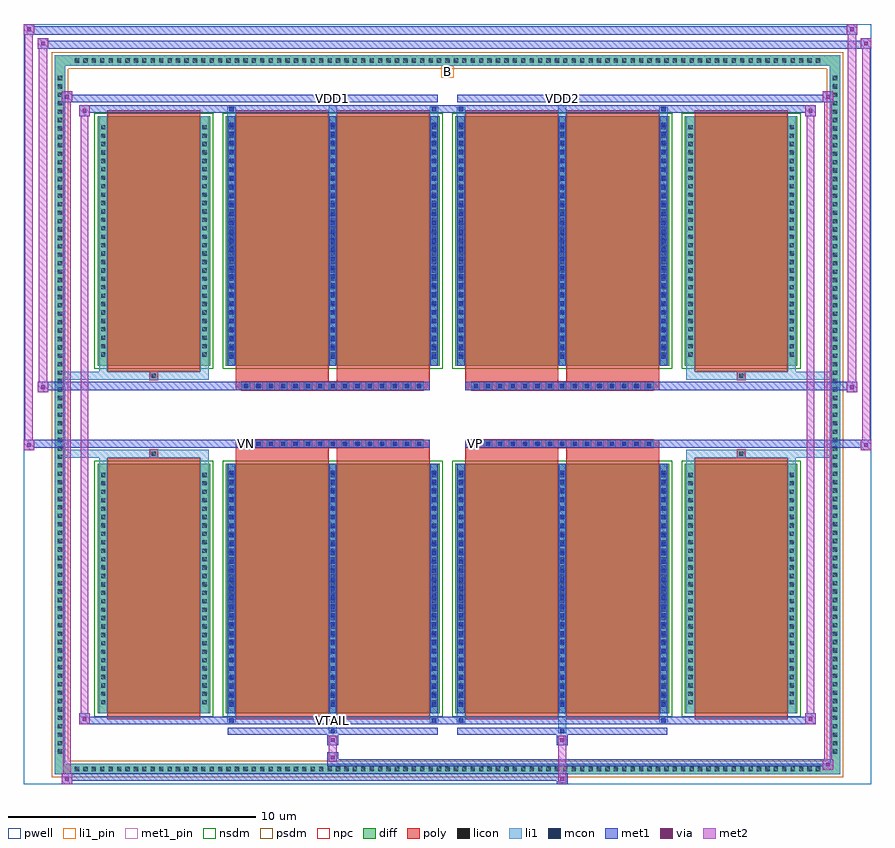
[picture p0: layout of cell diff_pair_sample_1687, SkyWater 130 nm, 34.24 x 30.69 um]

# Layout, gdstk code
import gdstk
lib = gdstk.Library(unit=1e-6, precision=5e-09)
def R(c, l, rs):  # rectangles x0, y0, x1, y1
    for r in rs: c.add(gdstk.rectangle(r[:2], r[2:], *l))
def A(c, l, x, y, w, h, nx, ny, dx, dy):  # array of equal rectangles
    R(c, l, [(x+i*dx, y+j*dy, x+i*dx+w, y+j*dy+h) for i in range(nx) for j in range(ny)])
def P(c, l, *ps):  # polygons
    for p in ps: c.add(gdstk.Polygon(p, *l))
pwell = (64, 44)
diff = (65, 20)
poly = (66, 20)
licon = (66, 44)
li1_pin = (67, 16)
li1 = (67, 20)
mcon = (67, 44)
met1_pin = (68, 16)
met1 = (68, 20)
via = (68, 44)
met2 = (69, 20)
nsdm = (93, 44)
psdm = (94, 20)
npc = (95, 20)

diff_pair_sample_1687 = lib.new_cell('diff_pair_sample_1687')
R(diff_pair_sample_1687, pwell, [(-17.12,-14.91,17.12,15.78), (-14.44,-13.1,-0.01,-0.8), (0.01,-13.1,14.44,-0.8), (-14.44,0.8,-0.01,13.1), (0.01,0.8,14.44,13.1)])
A(diff_pair_sample_1687, diff, -15.165, -14.51, 0.41, 0.41, 89, 2, 0.34, 28.61)
A(diff_pair_sample_1687, diff, -15.85, -13.805, 0.41, 0.41, 1, 81, 0, 0.34)
A(diff_pair_sample_1687, diff, 15.44, -13.805, 0.41, 0.41, 1, 81, 0, 0.34)
R(diff_pair_sample_1687, diff, [(-15.165,-14.51,15.165,-14.1), (-15.85,-13.805,-15.44,13.805), (15.44,-13.805,15.85,13.805), (-14.13,-12.055,-9.59,-1.985), (-8.95,-12.055,-0.32,-1.985), (0.32,-12.055,8.95,-1.985), (9.59,-12.055,14.13,-1.985), (-14.13,1.985,-9.59,12.055), (-8.95,1.985,-0.32,12.055), (0.32,1.985,8.95,12.055), (9.59,1.985,14.13,12.055), (-15.165,14.1,15.165,14.51)])
P(diff_pair_sample_1687, diff, [(15.85,14.51),(-15.85,14.51),(-15.85,-14.1),(-15.44,-14.1),(-15.44,14.1),(15.44,14.1),(15.44,-14.1),(-15.44,-14.1),(-15.85,-14.1),(-15.85,-14.51),(15.85,-14.51)])
A(diff_pair_sample_1687, poly, -8.3, -1.33, 0.33, 0.33, 15, 2, 0.5, 2.33)
A(diff_pair_sample_1687, poly, 0.97, -1.33, 0.33, 0.33, 15, 2, 0.5, 2.33)
R(diff_pair_sample_1687, poly, [(-13.74,-12.305,-9.98,-1.735), (-8.56,-12.305,-4.8,-1.735), (-4.47,-12.305,-0.71,-1.735), (0.71,-12.305,4.47,-1.735), (4.8,-12.305,8.56,-1.735), (9.98,-12.305,13.74,-1.735), (-12.025,-1.735,-11.695,-1.405), (-12.025,-1.735,-11.695,-1.405), (-8.56,-1.735,-4.8,-1.33), (-4.47,-1.735,-0.71,-1.33), (0.71,-1.735,4.47,-1.33), (4.8,-1.735,8.56,-1.33), (11.695,-1.735,12.025,-1.405), (11.695,-1.735,12.025,-1.405), (-8.56,-1.33,-0.71,-1), (0.71,-1.33,8.56,-1), (-8.56,1,-0.71,1.33), (0.71,1,8.56,1.33), (-8.56,1.33,-4.8,1.735), (-4.47,1.33,-0.71,1.735), (0.71,1.33,4.47,1.735), (4.8,1.33,8.56,1.735), (-12.025,1.405,-11.695,1.735), (-12.025,1.405,-11.695,1.735), (11.695,1.405,12.025,1.735), (11.695,1.405,12.025,1.735), (-13.74,1.735,-9.98,12.305), (-8.56,1.735,-4.8,12.305), (-4.47,1.735,-0.71,12.305), (0.71,1.735,4.47,12.305), (4.8,1.735,8.56,12.305), (9.98,1.735,13.74,12.305)])
A(diff_pair_sample_1687, licon, -15.045, -14.39, 0.17, 0.17, 89, 2, 0.34, 28.61)
A(diff_pair_sample_1687, licon, -15.73, -13.685, 0.17, 0.17, 1, 81, 0, 0.34)
A(diff_pair_sample_1687, licon, 15.56, -13.685, 0.17, 0.17, 1, 81, 0, 0.34)
A(diff_pair_sample_1687, licon, -13.99, -11.695, 0.17, 0.17, 1, 28, 0, 0.34)
A(diff_pair_sample_1687, licon, -9.9, -11.695, 0.17, 0.17, 1, 28, 0, 0.34)
A(diff_pair_sample_1687, licon, -8.81, -11.695, 0.17, 0.17, 3, 28, 4.09, 0.34)
A(diff_pair_sample_1687, licon, 0.46, -11.695, 0.17, 0.17, 3, 28, 4.09, 0.34)
A(diff_pair_sample_1687, licon, 9.73, -11.695, 0.17, 0.17, 1, 28, 0, 0.34)
A(diff_pair_sample_1687, licon, 13.82, -11.695, 0.17, 0.17, 1, 28, 0, 0.34)
A(diff_pair_sample_1687, licon, -8.22, -1.25, 0.17, 0.17, 15, 2, 0.5, 2.33)
A(diff_pair_sample_1687, licon, 1.05, -1.25, 0.17, 0.17, 15, 2, 0.5, 2.33)
A(diff_pair_sample_1687, licon, -13.99, 2.345, 0.17, 0.17, 1, 28, 0, 0.34)
A(diff_pair_sample_1687, licon, -9.9, 2.345, 0.17, 0.17, 1, 28, 0, 0.34)
A(diff_pair_sample_1687, licon, -8.81, 2.345, 0.17, 0.17, 3, 28, 4.09, 0.34)
A(diff_pair_sample_1687, licon, 0.46, 2.345, 0.17, 0.17, 3, 28, 4.09, 0.34)
A(diff_pair_sample_1687, licon, 9.73, 2.345, 0.17, 0.17, 1, 28, 0, 0.34)
A(diff_pair_sample_1687, licon, 13.82, 2.345, 0.17, 0.17, 1, 28, 0, 0.34)
R(diff_pair_sample_1687, licon, [(-11.945,-1.655,-11.775,-1.485), (11.775,-1.655,11.945,-1.485), (-11.945,1.485,-11.775,1.655), (11.775,1.485,11.945,1.655)])
R(diff_pair_sample_1687, li1_pin, [(-0.25,13.6,0.25,14.1)])
A(diff_pair_sample_1687, li1, -15.125, -14.47, 0.33, 0.33, 89, 2, 0.34, 28.61)
A(diff_pair_sample_1687, li1, -15.81, -13.765, 0.33, 0.33, 1, 81, 0, 0.34)
A(diff_pair_sample_1687, li1, 15.48, -13.765, 0.33, 0.33, 1, 81, 0, 0.34)
A(diff_pair_sample_1687, li1, -8.89, -12.055, 0.33, 10.07, 3, 2, 4.09, 14.04)
A(diff_pair_sample_1687, li1, 0.38, -12.055, 0.33, 10.07, 3, 2, 4.09, 14.04)
A(diff_pair_sample_1687, li1, -8.81, -11.785, 0.17, 0.17, 3, 27, 4.09, 0.36)
A(diff_pair_sample_1687, li1, -8.81, -11.785, 0.17, 9.53, 3, 2, 4.09, 14.04)
A(diff_pair_sample_1687, li1, 0.46, -11.785, 0.17, 0.17, 3, 27, 4.09, 0.36)
A(diff_pair_sample_1687, li1, 0.46, -11.785, 0.17, 9.53, 3, 2, 4.09, 14.04)
A(diff_pair_sample_1687, li1, -14.07, -11.775, 0.33, 0.33, 1, 28, 0, 0.34)
A(diff_pair_sample_1687, li1, -9.98, -11.775, 0.33, 0.33, 1, 28, 0, 0.34)
A(diff_pair_sample_1687, li1, -8.89, -11.775, 0.33, 0.33, 3, 28, 4.09, 0.34)
A(diff_pair_sample_1687, li1, 0.38, -11.775, 0.33, 0.33, 3, 28, 4.09, 0.34)
A(diff_pair_sample_1687, li1, 9.65, -11.775, 0.33, 0.33, 1, 28, 0, 0.34)
A(diff_pair_sample_1687, li1, 13.74, -11.775, 0.33, 0.33, 1, 28, 0, 0.34)
A(diff_pair_sample_1687, li1, -8.3, -1.33, 0.33, 0.33, 15, 2, 0.5, 2.33)
A(diff_pair_sample_1687, li1, 0.97, -1.33, 0.33, 0.33, 15, 2, 0.5, 2.33)
A(diff_pair_sample_1687, li1, -8.81, 2.255, 0.17, 0.17, 3, 27, 4.09, 0.36)
A(diff_pair_sample_1687, li1, 0.46, 2.255, 0.17, 0.17, 3, 27, 4.09, 0.36)
A(diff_pair_sample_1687, li1, -14.07, 2.265, 0.33, 0.33, 1, 28, 0, 0.34)
A(diff_pair_sample_1687, li1, -9.98, 2.265, 0.33, 0.33, 1, 28, 0, 0.34)
A(diff_pair_sample_1687, li1, -8.89, 2.265, 0.33, 0.33, 3, 28, 4.09, 0.34)
A(diff_pair_sample_1687, li1, 0.38, 2.265, 0.33, 0.33, 3, 28, 4.09, 0.34)
A(diff_pair_sample_1687, li1, 9.65, 2.265, 0.33, 0.33, 1, 28, 0, 0.34)
A(diff_pair_sample_1687, li1, 13.74, 2.265, 0.33, 0.33, 1, 28, 0, 0.34)
R(diff_pair_sample_1687, li1, [(-15.85,-14.51,-15.44,-14.1), (-15.85,-14.51,-15.44,-14.1), (-15.44,-14.51,15.44,-14.1), (15.44,-14.51,15.85,-14.1), (15.44,-14.51,15.85,-14.1), (-15.85,-14.1,-15.44,14.1), (15.44,-14.1,15.85,14.1), (-4.8,-12.86,-4.47,-12.055), (-4.72,-12.86,-4.55,-12.69), (4.47,-12.86,4.8,-12.055), (4.55,-12.86,4.72,-12.69), (-8.89,-12.43,-8.56,-12.055), (-8.81,-12.43,-8.64,-12.26), (-0.71,-12.43,-0.38,-12.055), (-0.63,-12.43,-0.46,-12.26), (0.38,-12.43,0.71,-12.055), (0.46,-12.43,0.63,-12.26), (8.56,-12.43,8.89,-12.055), (8.64,-12.43,8.81,-12.26), (-14.07,-12.055,-13.74,-1.985), (-9.98,-12.055,-9.65,-1.985), (9.65,-12.055,9.98,-1.985), (13.74,-12.055,14.07,-1.985), (-14.07,-1.985,-13.74,-1.405), (-9.98,-1.985,-9.65,-1.405), (9.65,-1.985,9.98,-1.405), (13.74,-1.985,14.07,-1.405), (-15.85,-1.735,-12.025,-1.405), (-14.07,-1.735,-12.025,-1.405), (-12.025,-1.735,-11.695,-1.405), (-11.695,-1.735,-9.65,-1.405), (9.65,-1.735,11.695,-1.405), (11.695,-1.735,12.025,-1.405), (11.695,-1.735,15.85,-1.405), (12.025,-1.735,14.07,-1.405), (-15.85,1.405,-12.025,1.735), (-14.07,1.405,-12.025,1.735), (-14.07,1.405,-13.74,1.985), (-12.025,1.405,-11.695,1.735), (-11.695,1.405,-9.65,1.735), (-9.98,1.405,-9.65,1.985), (9.65,1.405,11.695,1.735), (9.65,1.405,9.98,1.985), (11.695,1.405,12.025,1.735), (11.695,1.405,15.85,1.735), (12.025,1.405,14.07,1.735), (13.74,1.405,14.07,1.985), (-14.07,1.985,-13.74,12.055), (-9.98,1.985,-9.65,12.055), (9.65,1.985,9.98,12.055), (13.74,1.985,14.07,12.055), (-8.89,12.055,-8.56,12.43), (-4.8,12.055,-4.47,12.86), (-0.71,12.055,-0.38,12.43), (0.38,12.055,0.71,12.43), (4.47,12.055,4.8,12.86), (8.56,12.055,8.89,12.43), (-8.81,12.26,-8.64,12.43), (-0.63,12.26,-0.46,12.43), (0.46,12.26,0.63,12.43), (8.64,12.26,8.81,12.43), (-4.72,12.69,-4.55,12.86), (4.55,12.69,4.72,12.86), (-15.85,14.1,-15.44,14.51), (-15.85,14.1,-15.44,14.51), (-15.44,14.1,15.44,14.51), (15.44,14.1,15.85,14.51), (15.44,14.1,15.85,14.51)])
A(diff_pair_sample_1687, mcon, -8.81, -11.785, 0.17, 0.17, 3, 27, 4.09, 0.36)
A(diff_pair_sample_1687, mcon, 0.46, -11.785, 0.17, 0.17, 3, 27, 4.09, 0.36)
A(diff_pair_sample_1687, mcon, -8.22, -1.25, 0.17, 0.17, 15, 2, 0.5, 2.33)
A(diff_pair_sample_1687, mcon, 1.05, -1.25, 0.17, 0.17, 15, 2, 0.5, 2.33)
A(diff_pair_sample_1687, mcon, -8.81, 2.255, 0.17, 0.17, 3, 27, 4.09, 0.36)
A(diff_pair_sample_1687, mcon, 0.46, 2.255, 0.17, 0.17, 3, 27, 4.09, 0.36)
R(diff_pair_sample_1687, mcon, [(-4.72,-12.86,-4.55,-12.69), (4.55,-12.86,4.72,-12.69), (-8.81,-12.43,-8.64,-12.26), (-0.63,-12.43,-0.46,-12.26), (0.46,-12.43,0.63,-12.26), (8.64,-12.43,8.81,-12.26), (-8.81,12.26,-8.64,12.43), (-0.63,12.26,-0.46,12.43), (0.46,12.26,0.63,12.43), (8.64,12.26,8.81,12.43), (-4.72,12.69,-4.55,12.86), (4.55,12.69,4.72,12.86)])
R(diff_pair_sample_1687, met1_pin, [(-4.77,-12.47,-4.5,-12.2), (-8.27,-1.29,-8,-1.02), (1,-1.29,1.27,-1.02), (-4.77,12.65,-4.5,12.92), (4.5,12.65,4.77,12.92)])
A(diff_pair_sample_1687, met1, -8.87, -12.055, 0.29, 10.07, 3, 2, 4.09, 14.04)
A(diff_pair_sample_1687, met1, 0.4, -12.055, 0.29, 10.07, 3, 2, 4.09, 14.04)
A(diff_pair_sample_1687, met1, -8.87, -11.845, 0.29, 0.29, 3, 27, 4.09, 0.36)
A(diff_pair_sample_1687, met1, 0.4, -11.845, 0.29, 0.29, 3, 27, 4.09, 0.36)
A(diff_pair_sample_1687, met1, -8.28, -1.31, 0.29, 0.29, 15, 2, 0.5, 2.33)
A(diff_pair_sample_1687, met1, 0.99, -1.31, 0.29, 0.29, 15, 2, 0.5, 2.33)
A(diff_pair_sample_1687, met1, -8.87, 2.195, 0.29, 0.29, 3, 27, 4.09, 0.36)
A(diff_pair_sample_1687, met1, 0.4, 2.195, 0.29, 0.29, 3, 27, 4.09, 0.36)
R(diff_pair_sample_1687, met1, [(-15.58,-14.91,-15.15,-14.48), (4.42,-14.91,4.85,-14.48), (-15.58,-14.77,4.85,-14.48), (15.15,-14.34,15.58,-13.91), (-4.85,-14.2,15.58,-13.91), (-4.85,-14.06,-4.42,-13.63), (-4.85,-13.35,-4.42,-12.92), (4.42,-13.35,4.85,-12.92), (-8.87,-12.92,-0.4,-12.63), (-4.78,-12.92,-4.49,-12.63), (0.4,-12.92,8.87,-12.63), (4.49,-12.92,4.78,-12.63), (-14.87,-12.49,-14.44,-12.06), (-14.87,-12.49,-8.87,-12.2), (-8.87,-12.49,-8.58,-12.2), (-8.87,-12.49,-0.4,-12.2), (-0.69,-12.49,-0.4,-12.2), (-0.4,-12.49,0.4,-12.2), (0.4,-12.49,0.69,-12.2), (0.4,-12.49,8.87,-12.2), (8.58,-12.49,8.87,-12.2), (8.87,-12.49,14.87,-12.2), (14.44,-12.49,14.87,-12.06), (-17.12,-1.43,-16.69,-1), (16.69,-1.43,17.12,-1), (-17.12,-1.33,-0.71,-1), (-8.56,-1.33,-0.71,-1), (0.71,-1.33,8.56,-1), (0.71,-1.33,17.12,-1), (-16.55,0.9,-16.12,1.33), (16.12,0.9,16.55,1.33), (-16.55,1,-8.56,1.33), (-8.56,1,-0.71,1.33), (0.71,1,8.56,1.33), (8.56,1,16.55,1.33), (-14.87,12.06,-14.44,12.49), (14.44,12.06,14.87,12.49), (-14.87,12.2,-8.87,12.49), (-8.87,12.2,-8.58,12.49), (-8.87,12.2,-0.4,12.49), (-0.69,12.2,-0.4,12.49), (-0.4,12.2,0.4,12.49), (0.4,12.2,0.69,12.49), (0.4,12.2,8.87,12.49), (8.58,12.2,8.87,12.49), (8.87,12.2,14.87,12.49), (-15.58,12.63,-15.15,13.06), (-15.58,12.63,-8.87,12.92), (-8.87,12.63,-0.4,12.92), (-4.78,12.63,-4.49,12.92), (0.4,12.63,8.87,12.92), (4.49,12.63,4.78,12.92), (8.87,12.63,15.58,12.92), (15.15,12.63,15.58,13.06), (-16.55,14.78,-16.12,15.21), (-16.55,14.78,-14.44,15.11), (-14.44,14.78,14.44,15.11), (14.44,14.78,17.12,15.11), (16.69,14.78,17.12,15.21), (-17.12,15.35,-16.69,15.78), (-17.12,15.35,-14.44,15.68), (-14.44,15.35,14.44,15.68), (14.44,15.35,16.55,15.68), (16.12,15.35,16.55,15.78)])
R(diff_pair_sample_1687, via, [(-15.44,-14.77,-15.29,-14.62), (4.56,-14.77,4.71,-14.62), (15.29,-14.2,15.44,-14.05), (-4.71,-13.92,-4.56,-13.77), (-4.71,-13.21,-4.56,-13.06), (4.56,-13.21,4.71,-13.06), (-14.73,-12.35,-14.58,-12.2), (14.58,-12.35,14.73,-12.2), (-16.98,-1.29,-16.83,-1.14), (16.83,-1.29,16.98,-1.14), (-16.41,1.04,-16.26,1.19), (16.26,1.04,16.41,1.19), (-14.73,12.2,-14.58,12.35), (14.58,12.2,14.73,12.35), (-15.44,12.77,-15.29,12.92), (15.29,12.77,15.44,12.92), (-16.41,14.92,-16.26,15.07), (16.83,14.92,16.98,15.07), (-16.98,15.49,-16.83,15.64), (16.26,15.49,16.41,15.64)])
R(diff_pair_sample_1687, met2, [(-15.58,-14.91,-15.15,-14.48), (-15.51,-14.91,-15.22,13.06), (-15.22,-14.91,-15.15,-14.48), (-15.53,-14.86,-15.2,-14.53), (4.47,-14.86,4.8,-14.53), (4.47,-14.53,4.8,-13.3), (15.15,-14.34,15.58,-13.91), (15.22,-14.34,15.51,13.06), (15.51,-14.34,15.58,-13.91), (15.2,-14.29,15.53,-13.96), (-4.8,-14.01,-4.47,-13.68), (-4.8,-13.68,-4.47,-13.3), (-4.8,-13.3,-4.47,-12.97), (4.47,-13.3,4.8,-12.97), (-14.87,-12.49,-14.44,-12.06), (-14.8,-12.49,-14.51,12.49), (-14.51,-12.49,-14.44,-12.06), (14.44,-12.49,14.87,-12.06), (14.51,-12.49,14.8,12.49), (14.8,-12.49,14.87,-12.06), (-14.82,-12.44,-14.49,-12.11), (14.49,-12.44,14.82,-12.11), (-17.12,-1.43,-16.69,-1), (-17.07,-1.43,-16.74,15.78), (-16.74,-1.43,-16.69,-1), (16.69,-1.43,17.12,-1), (16.74,-1.43,17.07,15.21), (17.07,-1.43,17.12,-1), (-17.07,-1.38,-16.74,-1.05), (16.74,-1.38,17.07,-1.05), (-16.55,0.9,-16.12,1.33), (-16.5,0.9,-16.17,15.21), (-16.17,0.9,-16.12,1.33), (16.12,0.9,16.55,1.33), (16.17,0.9,16.5,15.78), (16.5,0.9,16.55,1.33), (-16.5,0.95,-16.17,1.28), (16.17,0.95,16.5,1.28), (-14.87,12.06,-14.44,12.49), (-14.51,12.06,-14.44,12.49), (14.44,12.06,14.87,12.49), (14.8,12.06,14.87,12.49), (-14.82,12.11,-14.49,12.44), (14.49,12.11,14.82,12.44), (-15.58,12.63,-15.15,13.06), (-15.22,12.63,-15.15,13.06), (15.15,12.63,15.58,13.06), (15.51,12.63,15.58,13.06), (-15.53,12.68,-15.2,13.01), (15.2,12.68,15.53,13.01), (-16.55,14.78,-16.12,15.21), (-16.17,14.78,-16.12,15.21), (16.69,14.78,17.12,15.21), (17.07,14.78,17.12,15.21), (-16.5,14.83,-16.17,15.16), (16.74,14.83,17.07,15.16), (-17.12,15.35,-16.69,15.78), (-16.74,15.35,-16.69,15.78), (16.12,15.35,16.55,15.78), (16.5,15.35,16.55,15.78), (-17.07,15.4,-16.74,15.73), (16.17,15.4,16.5,15.73)])
R(diff_pair_sample_1687, nsdm, [(-14.26,-12.185,-9.46,-1.855), (-9.08,-12.185,-0.19,-1.855), (0.19,-12.185,9.08,-1.855), (9.46,-12.185,14.26,-1.855), (-14.26,1.855,-9.46,12.185), (-9.08,1.855,-0.19,12.185), (0.19,1.855,9.08,12.185), (9.46,1.855,14.26,12.185)])
P(diff_pair_sample_1687, psdm, [(15.98,14.64),(-15.98,14.64),(-15.98,-13.97),(-15.31,-13.97),(-15.31,13.97),(15.31,13.97),(15.31,-13.97),(-15.31,-13.97),(-15.98,-13.97),(-15.98,-14.64),(15.98,-14.64)])
A(diff_pair_sample_1687, npc, -8.32, -1.35, 0.37, 0.37, 15, 2, 0.5, 2.33)
A(diff_pair_sample_1687, npc, 0.95, -1.35, 0.37, 0.37, 15, 2, 0.5, 2.33)
R(diff_pair_sample_1687, npc, [(-12.045,-1.755,-11.675,-1.385), (11.675,-1.755,12.045,-1.385), (-8.32,-1.35,-7.45,-0.98), (-8.32,-1.35,-7.45,-0.98), (-7.82,-1.35,-6.95,-0.98), (-7.82,-1.35,-6.95,-0.98), (-7.32,-1.35,-6.45,-0.98), (-7.32,-1.35,-6.45,-0.98), (-6.82,-1.35,-5.95,-0.98), (-6.82,-1.35,-5.95,-0.98), (-6.32,-1.35,-5.45,-0.98), (-6.32,-1.35,-5.45,-0.98), (-5.82,-1.35,-4.95,-0.98), (-5.82,-1.35,-4.95,-0.98), (-5.32,-1.35,-4.45,-0.98), (-5.32,-1.35,-4.45,-0.98), (-4.82,-1.35,-3.95,-0.98), (-4.82,-1.35,-3.95,-0.98), (-4.32,-1.35,-3.45,-0.98), (-4.32,-1.35,-3.45,-0.98), (-3.82,-1.35,-2.95,-0.98), (-3.82,-1.35,-2.95,-0.98), (-3.32,-1.35,-2.45,-0.98), (-3.32,-1.35,-2.45,-0.98), (-2.82,-1.35,-1.95,-0.98), (-2.82,-1.35,-1.95,-0.98), (-2.32,-1.35,-1.45,-0.98), (-2.32,-1.35,-1.45,-0.98), (-1.82,-1.35,-0.95,-0.98), (-1.82,-1.35,-0.95,-0.98), (0.95,-1.35,1.82,-0.98), (0.95,-1.35,1.82,-0.98), (1.45,-1.35,2.32,-0.98), (1.45,-1.35,2.32,-0.98), (1.95,-1.35,2.82,-0.98), (1.95,-1.35,2.82,-0.98), (2.45,-1.35,3.32,-0.98), (2.45,-1.35,3.32,-0.98), (2.95,-1.35,3.82,-0.98), (2.95,-1.35,3.82,-0.98), (3.45,-1.35,4.32,-0.98), (3.45,-1.35,4.32,-0.98), (3.95,-1.35,4.82,-0.98), (3.95,-1.35,4.82,-0.98), (4.45,-1.35,5.32,-0.98), (4.45,-1.35,5.32,-0.98), (4.95,-1.35,5.82,-0.98), (4.95,-1.35,5.82,-0.98), (5.45,-1.35,6.32,-0.98), (5.45,-1.35,6.32,-0.98), (5.95,-1.35,6.82,-0.98), (5.95,-1.35,6.82,-0.98), (6.45,-1.35,7.32,-0.98), (6.45,-1.35,7.32,-0.98), (6.95,-1.35,7.82,-0.98), (6.95,-1.35,7.82,-0.98), (7.45,-1.35,8.32,-0.98), (7.45,-1.35,8.32,-0.98), (-8.32,0.98,-7.45,1.35), (-8.32,0.98,-7.45,1.35), (-7.82,0.98,-6.95,1.35), (-7.82,0.98,-6.95,1.35), (-7.32,0.98,-6.45,1.35), (-7.32,0.98,-6.45,1.35), (-6.82,0.98,-5.95,1.35), (-6.82,0.98,-5.95,1.35), (-6.32,0.98,-5.45,1.35), (-6.32,0.98,-5.45,1.35), (-5.82,0.98,-4.95,1.35), (-5.82,0.98,-4.95,1.35), (-5.32,0.98,-4.45,1.35), (-5.32,0.98,-4.45,1.35), (-4.82,0.98,-3.95,1.35), (-4.82,0.98,-3.95,1.35), (-4.32,0.98,-3.45,1.35), (-4.32,0.98,-3.45,1.35), (-3.82,0.98,-2.95,1.35), (-3.82,0.98,-2.95,1.35), (-3.32,0.98,-2.45,1.35), (-3.32,0.98,-2.45,1.35), (-2.82,0.98,-1.95,1.35), (-2.82,0.98,-1.95,1.35), (-2.32,0.98,-1.45,1.35), (-2.32,0.98,-1.45,1.35), (-1.82,0.98,-0.95,1.35), (-1.82,0.98,-0.95,1.35), (0.95,0.98,1.82,1.35), (0.95,0.98,1.82,1.35), (1.45,0.98,2.32,1.35), (1.45,0.98,2.32,1.35), (1.95,0.98,2.82,1.35), (1.95,0.98,2.82,1.35), (2.45,0.98,3.32,1.35), (2.45,0.98,3.32,1.35), (2.95,0.98,3.82,1.35), (2.95,0.98,3.82,1.35), (3.45,0.98,4.32,1.35), (3.45,0.98,4.32,1.35), (3.95,0.98,4.82,1.35), (3.95,0.98,4.82,1.35), (4.45,0.98,5.32,1.35), (4.45,0.98,5.32,1.35), (4.95,0.98,5.82,1.35), (4.95,0.98,5.82,1.35), (5.45,0.98,6.32,1.35), (5.45,0.98,6.32,1.35), (5.95,0.98,6.82,1.35), (5.95,0.98,6.82,1.35), (6.45,0.98,7.32,1.35), (6.45,0.98,7.32,1.35), (6.95,0.98,7.82,1.35), (6.95,0.98,7.82,1.35), (7.45,0.98,8.32,1.35), (7.45,0.98,8.32,1.35), (-12.045,1.385,-11.675,1.755), (11.675,1.385,12.045,1.755)])
diff_pair_sample_1687.add(gdstk.Label('VTAIL', (-4.635,-12.335), layer=68, texttype=5))
diff_pair_sample_1687.add(gdstk.Label('VN', (-8.135,-1.155), layer=68, texttype=5))
diff_pair_sample_1687.add(gdstk.Label('VP', (1.135,-1.155), layer=68, texttype=5))
diff_pair_sample_1687.add(gdstk.Label('B', (0,13.85), layer=67, texttype=5))
diff_pair_sample_1687.add(gdstk.Label('VDD2', (4.635,12.785), layer=68, texttype=5))
diff_pair_sample_1687.add(gdstk.Label('VDD1', (-4.635,12.785), layer=68, texttype=5))

lib.write_gds('diff_pair_sample_1687.gds')
